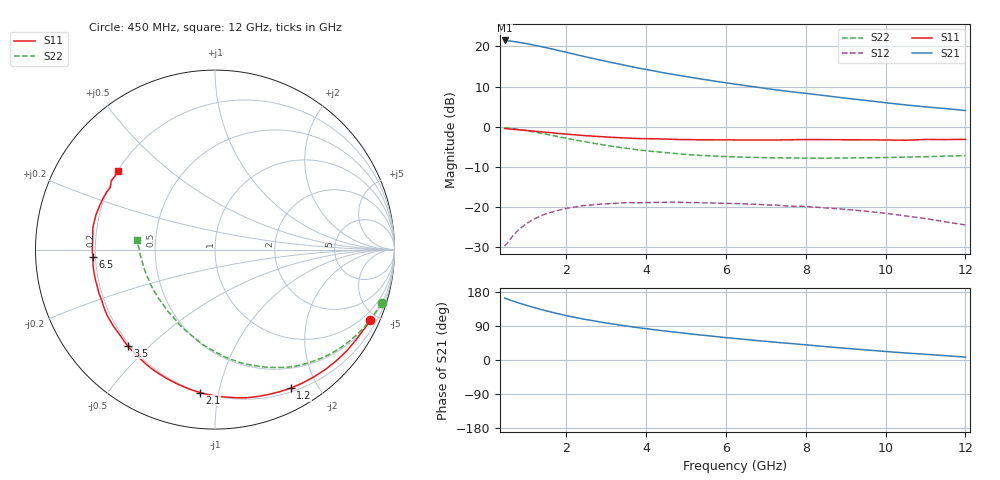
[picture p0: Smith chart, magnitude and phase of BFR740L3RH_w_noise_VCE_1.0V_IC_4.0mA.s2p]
! (c) 2012  Infineon Technologies AG, Munich
! Infineon Technologies  Discrete & RF Semiconductors
! BFR740L3RH
! VCE =  1.0 V,  IC =  4.0 mA
! Common Emitter S-Parameters:  May 2012
# GHz  S  MA  R  50
!  f  S11  S21  S12  S22
! GHz  MAG  ANG  MAG  ANG  MAG  ANG  MAG  ANG
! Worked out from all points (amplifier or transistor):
!   85 points, 450 MHz to 12 GHz, reference 50 ohm
!   highest |S21| = 21.5 dB at 450 MHz (marker M1)
!   |S21| within 3 dB of that: start of sweep to 2.02 GHz
!   unconditionally stable (mu >= 1): 9.573 GHz to end of sweep
!   at 1.8 GHz: K = 0.12, MSG = 19.9 dB, |S12| = -20.8 dB
!   at 4.6 GHz: K = 0.33, MSG = 16.0 dB, |S12| = -18.8 dB
!   at 12 GHz: K = 1.95, MAG = 8.7 dB, |S12| = -24.5 dB
!   lowest NFmin = 0.35 dB at 450 MHz
!   S11 on the Smith chart (normalised r, x): 450 MHz: 0.54, -4.54; 1.2 GHz: 0.24, -1.66; 2.1 GHz: 0.20, -0.88; 3.5 GHz: 0.19, -0.43; 6.5 GHz: 0.19, -0.03; 12 GHz: 0.20, +0.34
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0.45  0.9516 -24.5  11.84 163.4  0.0326 78.8  0.975 -17.9
0.6  0.9332 -32.5  11.62 157.7  0.0404 69.5  0.9531 -23.3
0.8  0.9165 -42.6  11.24 150.7  0.052 62.9  0.9238 -30.5
1  0.898 -52.2  10.8 144.2  0.0623 58.0  0.8915 -37.3
1.2  0.8796 -61.3  10.34 138.1  0.0713 52.2  0.8573 -43.8
1.4  0.8604 -69.8  9.849 132.3  0.0791 47.2  0.8213 -49.9
1.6  0.8445 -77.7  9.367 127.0  0.0857 42.2  0.7872 -55.7
1.8  0.8241 -85.6  8.885 121.8  0.0909 38.1  0.7507 -61.0
2.1  0.8006 -96.0  8.202 114.8  0.0982 32.4  0.7022 -68.3
2.4  0.7783 -105.3  7.568 108.6  0.104 27.5  0.6587 -75.2
2.9  0.7507 -118.6  6.669 99.4  0.1091 20.1  0.5977 -85.2
3.3  0.7309 -128.0  6.05 92.8  0.112 14.6  0.556 -92.5
3.5  0.7236 -132.3  5.768 89.7  0.1136 12.7  0.5392 -96.1
3.9  0.7098 -140.0  5.262 83.9  0.1135 7.7  0.5074 -102.3
4.3  0.7049 -146.8  4.831 78.7  0.1144 4.5  0.4851 -108.3
5.2  0.6893 -160.7  4.049 67.8  0.1137 -3.8  0.4442 -121.0
6.3  0.6837 -174.2  3.347 56.1  0.1103 -11.2  0.42 -134.8
6.5  0.682 -176.5  3.239 54.1  0.1092 -12.6  0.4167 -137.3
7.3  0.6839 175.4  2.858 46.3  0.1055 -18.2  0.4097 -146.5
8.5  0.6908 163.6  2.429 35.3  0.0976 -25.8  0.4066 -159.3
10.5  0.6785 149.2  1.869 18.5  0.0775 -36.2  0.4183 -176.5
12  0.6954 140.7  1.59 7.6  0.0599 -39.0  0.4373 173.0
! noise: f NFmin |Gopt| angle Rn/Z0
0.45  0.35  0.51  4  0.17
0.9  0.37  0.5  16  0.17
1.5  0.4  0.51  30  0.15
1.9  0.43  0.52  38  0.15
2.4  0.48  0.51  47  0.15
3.5  0.58  0.51  68  0.13
5.5  0.8  0.56  99  0.1
8  1.08  0.5  137  0.08
10  1.29  0.51  162  0.05
12  1.5  0.56  -163  0.04
